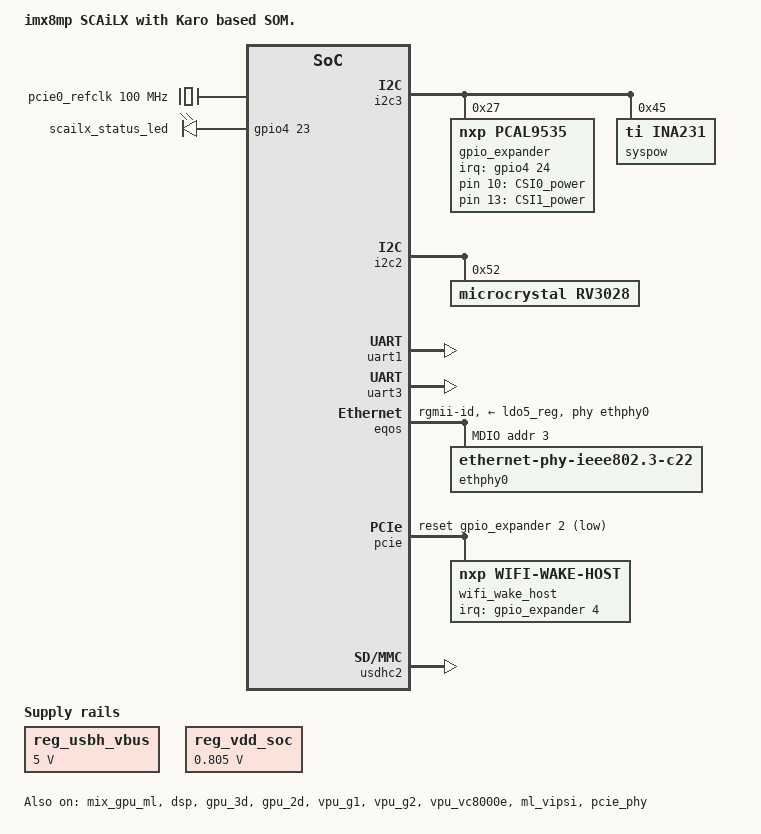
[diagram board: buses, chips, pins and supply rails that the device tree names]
// SPDX-License-Identifier: (GPL-2.0 OR MIT)
/*
 * Copyright (C) 2023 VideologyInc
 *
 */

#include "imx8mp-qsxp-ml81.dts"
#include <dt-bindings/phy/phy-imx8-pcie.h>

/ {
	model = "imx8mp SCAiLX with Karo based SOM.";

	aliases {
		pcie = &pcie;
		pcie_phy = &pcie_phy;
		serial3 = &uart3;

		csi0_i2c = &i2c3;
		csi1_i2c = &i2c2;
		dsi0_i2c = &i2c2;

		gpio-a-i2c = &i2c3;
		gpio-a-uart = &uart1;
		gpio-a-debug = &uart4;
		gpio-a-can = &flexcan2;
		gpio-a-spi = &ecspi2;
		gpio-a-usb = &usb3_1;
		gpio-a-usb_dwc = &usb_dwc3_1;
		gpio-a-usb_phy = &usb3_phy1;

		gpio-b-i2c = &i2c2;
		gpio-b-uart = &uart3;
		gpio-b-debug = &uart2;
		gpio-b-can = &flexcan1;
		gpio-b-spi = &ecspi1;
		gpio-b-usb = &usb3_0;
		gpio-b-usb_dwc = &usb_dwc3_0;
		gpio-b-usb_phy = &usb3_phy0;
	};

	reg_usbh_vbus: regulator-usbh-vbus {
		compatible = "regulator-fixed";
		regulator-name = "USBH-VBUS";
		regulator-min-microvolt = <5000000>;
		regulator-max-microvolt = <5000000>;
		regulator-always-on;
	};

	pcie0_refclk: pcie0-refclk {
		compatible = "fixed-clock";
		#clock-cells = <0>;
		clock-frequency = <100000000>;
	};

	scailx_leds {
		compatible = "gpio-leds";
		pinctrl-names = "default";
		pinctrl-0 = <&pinctrl_status_led>;
		scailx_status_led {
			gpios = <&gpio4 23 GPIO_ACTIVE_HIGH>;
			default-state = "on";
		};
		CSI0_power {
			gpios = <&gpio_expander 10 GPIO_ACTIVE_HIGH>;
			default-state = "off";
		};
		CSI1_power {
			gpios = <&gpio_expander 13 GPIO_ACTIVE_HIGH>;
			default-state = "off";
		};
	};
};

// create second label for devices to group them to the ascociated port on the SCAILX device.
csi0_i2c: &i2c3{};
csi1_i2c: &i2c2{};
dsi0_i2c: &i2c2{};

gpio_a_i2c: &i2c3 {};
gpio_a_uart: &uart1 {};
gpio_a_debug: &uart4{};
gpio_a_can: &flexcan2{};
gpio_a_spi: &ecspi2{};
gpio_a_usb: &usb3_1{};
gpio_a_usb_dwc: &usb_dwc3_1{};
gpio_a_usb_phy: &usb3_phy1{};

gpio_b_i2c: &i2c2{};
gpio_b_uart: &uart3{};
gpio_b_debug: &uart2{};
gpio_b_can: &flexcan1{};
gpio_b_spi: &ecspi1{};
gpio_b_usb: &usb3_0{};
gpio_b_usb_dwc: &usb_dwc3_0{};
gpio_b_usb_phy: &usb3_phy0{};

&mix_gpu_ml {
	/delete-property/ memory-region;
 };

/delete-node/ &gpu_reserved;

/* reconfigure UARTS */
&uart1 {
	/* remove RTS-CTS */
	pinctrl-names = "default";
	pinctrl-0 = <&pinctrl_uart1>;
	/delete-property/ uart-has-rtscts;
	status = "okay";
};
&uart3{
	pinctrl-names = "default";
	pinctrl-0 = <&pinctrl_uart3>;
	status = "okay";
};

&dsp {
	status = "okay";
};

&eqos {
	pinctrl-names = "default", "sleep";
	pinctrl-0 = <&pinctrl_eqos>;
	pinctrl-1 = <&pinctrl_eqos_sleep>;
	phy-mode = "rgmii-id";
	phy-handle = <&ethphy0>;
	phy-supply = <&ldo5_reg>;
	status = "okay";

	mdio {
		compatible = "snps,dwmac-mdio";
		pinctrl-names = "default";
		pinctrl-0 = <&pinctrl_etnphy_rst_b>;
		reset-gpios = <&gpio4 22 GPIO_ACTIVE_LOW>;
		reset-delay-us = <10000>;
		reset-post-delay-us = <60000>;
		#address-cells = <1>;
		#size-cells = <0>;

		ethphy0: ethernet-phy@3 {
			compatible = "ethernet-phy-ieee802.3-c22";
			reg = <3>;
			eee-broken-1000t;
			realtek,clkout-disable;
			micrel,force-master;
			rxd0-skew-ps = <(420 + 99)>;
			rxd1-skew-ps = <(420 + 119)>;
			rxd2-skew-ps = <(420 + 111)>;
			rxd3-skew-ps = <(420 + 129)>;
			txd0-skew-ps = <(420 + 204)>;
			txd1-skew-ps = <(420 + 178)>;
			txd2-skew-ps = <(420 + 192)>;
			txd3-skew-ps = <(420 + 151)>;
			rxdv-skew-ps = <(420 + 129)>;
			txen-skew-ps = <(420 + 150)>;
			rxc-skew-ps = <(900 + 139)>;
			txc-skew-ps = <(900 + 150)>;
		};
	};
};

&gpu_3d {
	status = "okay";
};

&gpu_2d {
	status = "okay";
};

&vpu_g1 {
	status = "okay";
};

&vpu_g2 {
	status = "okay";
};

&vpu_vc8000e {
	status = "okay";
};

// &vpu_v4l2 {
// 	status = "okay";
// };

&ml_vipsi {
	status = "okay";
};

&mix_gpu_ml {
	status = "okay";
};

&i2c2 {
	/* RTC */
	rv3028: rtc@52 	{
		compatible = "microcrystal,rv3028";
		reg = <0x52>;
		trickle-resistor-ohms = <5000>;
	};
};

&i2c3 {
	gpio_expander: gpio@27 {
		compatible = "nxp,pcal9535";
		reg = <0x27>;
		#gpio-cells = <2>;
		gpio-controller;

		pinctrl-names = "default";
		pinctrl-0 = <&pinctrl_expander_int>;
		interrupt-parent = <&gpio4>;
		interrupts = <24 IRQ_TYPE_EDGE_FALLING>;
		interrupt-controller;
		#interrupt-cells = <2>;

		gpio-line-names =
			"PWR-EN_GPIOA",
			"RST_CAM-B",
			"PCIe_PERST",
			"GPIOA-GP3",
			"PCIe_WAKE",
			"DISP-EN_DSI",
			"GPIOB-GP2",
			"PWR-EN_GPIOB",
			"ALERT_CAM-A",
			"RST_CAM-A",
			"PWR-EN_CAM-A",
			"Reserved_CAM-B",
			"ALERT_CAM-B",
			"PWR-EN_CAM-B",
			"Reserved_CAM-A",
			"";
	};

	/* System power sensor */
	syspow: ina231@45 {
		compatible = "ti,ina231";
		reg = <0x45>;
		shunt-resistor = <10000>;
	};
};

&i2c4 {
	status = "disabled";
};

&pcie {
	pinctrl-names = "default";
	pinctrl-0 = <&pinctrl_pcie>;
	reset-gpio = <&gpio_expander 2 GPIO_ACTIVE_LOW>;
	ext_osc = <1>;
	clocks = <&clk IMX8MP_CLK_HSIO_ROOT>,
		<&clk IMX8MP_CLK_PCIE_ROOT>,
		<&clk IMX8MP_CLK_HSIO_AXI>;
	clock-names = "pcie", "pcie_aux", "pcie_bus";
	assigned-clocks = <&clk IMX8MP_CLK_PCIE_AUX>;
	assigned-clock-rates = <10000000>;
	assigned-clock-parents = <&clk IMX8MP_SYS_PLL2_50M>;
	status = "okay";

	wifi_wake_host {
		compatible = "nxp,wifi-wake-host";
		interrupt-parent = <&gpio_expander>;
		interrupts = <4 IRQ_TYPE_LEVEL_LOW>;
		interrupt-names = "host-wake";
	};
};

&pcie_phy {
	fsl,refclk-pad-mode = <IMX8_PCIE_REFCLK_PAD_INPUT>;
	fsl,clkreq-unsupported;
	clocks = <&pcie0_refclk>;
	clock-names = "ref";
	status = "okay";
};

&reg_vdd_soc {
	/* PCIe requires a minimum vdd soc voltage of 0.805V */
	regulator-min-microvolt = <805000>;
};

&usdhc2 {
	status = "okay";
};

&ecspi1 {
	pinctrl-names = "default";
	pinctrl-0 = <&pinctrl_ecspi1>;
	spi-max-frequency = <20000000>;
	cs-gpios = <&gpio5 9 GPIO_ACTIVE_LOW>;
	status = "disabled";
};

&ecspi2 {
	pinctrl-names = "default";
	pinctrl-0 = <&pinctrl_ecspi2>;
	spi-max-frequency = <20000000>;
	cs-gpios = <&gpio5 13 GPIO_ACTIVE_LOW>;
	status = "disabled";
};


// imx8m PIN MUX REGISTERS:
//   |---|---|---|---| # |---|---|---|---| # |---|---|---|SION| # |---|MUX|MUX|MUX|
//     IOMUXC_MUX_SION_ENABLED     0x40000000  // enable software read of pin state irrespective of mux function.

// imx8m PIN PAD CTRL REGISTERS:
//   |---|---|---|---| # |---|---|---|PE | # |HYS|PUE|ODE|SLR| # |slr?|DSE|DSE|dse?|
// hysteresis - Schmitt-trigger enable or regular CMOS
//     IOMUXC_PAD_HYS_ENABLED      0x00000080
// Pull-up/down     (when enabled, approx 27k PU, or 100k PD)
//     IOMUXC_PAD_PULL_ENABLED     0x00000100
//     IOMUXC_PAD_PULL_PUE         0x00000040  // 0x40 -s PU, 0 is PD if PE is on
//     IOMUXC_PAD_ODE_ENABLED      0x00000020
// Slew-rate control
//     IOMUXC_PAD_SRE_FAST         0x00000010
// Drive Strength
//     IOMUXC_PAD_DSE_X1           0x00000000  (Weakest)
//     IOMUXC_PAD_DSE_X2           0x00000002
//     IOMUXC_PAD_DSE_X4           0x00000004
//     IOMUXC_PAD_DSE_X6           0x00000006  (Strongest)

&iomuxc {
	pinctrl_etnphy_int_b: etnphy-int-bgrp {
		fsl,pins = <
			    MX8MP_IOMUXC_SAI2_RXFS__GPIO4_IO21		0x90
		>;
	};

	pinctrl_etnphy_rst_b: etnphy-rst-bgrp {
		fsl,pins = <
			    MX8MP_IOMUXC_SAI2_RXC__GPIO4_IO22		0x140
		>;
	};

	pinctrl_eqos: eqosgrp {
		fsl,pins = <
			    MX8MP_IOMUXC_GPIO1_IO00__CCM_ENET_PHY_REF_CLK_ROOT 0x150
			    MX8MP_IOMUXC_ENET_MDC__ENET_QOS_MDC		0x142
			    MX8MP_IOMUXC_ENET_MDIO__ENET_QOS_MDIO	0x142
			    MX8MP_IOMUXC_ENET_TXC__CCM_ENET_QOS_CLOCK_GENERATE_TX_CLK 0x000
			    MX8MP_IOMUXC_ENET_TD0__ENET_QOS_RGMII_TD0	0x016
			    MX8MP_IOMUXC_ENET_TD1__ENET_QOS_RGMII_TD1	0x016
			    MX8MP_IOMUXC_ENET_TD2__ENET_QOS_RGMII_TD2	0x016
			    MX8MP_IOMUXC_ENET_TD3__ENET_QOS_RGMII_TD3	0x016
			    MX8MP_IOMUXC_ENET_RD0__ENET_QOS_RGMII_RD0	0x150
			    MX8MP_IOMUXC_ENET_RD1__ENET_QOS_RGMII_RD1	0x150
			    MX8MP_IOMUXC_ENET_RD2__ENET_QOS_RGMII_RD2	0x150
			    MX8MP_IOMUXC_ENET_RD3__ENET_QOS_RGMII_RD3	0x150
			    MX8MP_IOMUXC_ENET_RXC__CCM_ENET_QOS_CLOCK_GENERATE_RX_CLK 0x116
			    MX8MP_IOMUXC_ENET_RX_CTL__ENET_QOS_RGMII_RX_CTL 0x156
			    MX8MP_IOMUXC_ENET_TX_CTL__ENET_QOS_RGMII_TX_CTL 0x016
		>;
	};

	pinctrl_eqos_sleep: eqos-sleep-grp {
		fsl,pins = <
			    MX8MP_IOMUXC_GPIO1_IO00__GPIO1_IO00		0x120
			    MX8MP_IOMUXC_ENET_MDC__GPIO1_IO16		0x120
			    MX8MP_IOMUXC_ENET_MDIO__GPIO1_IO17		0x120
			    MX8MP_IOMUXC_ENET_TXC__GPIO1_IO23		0x120
			    MX8MP_IOMUXC_ENET_TD0__GPIO1_IO21		0x120
			    MX8MP_IOMUXC_ENET_TD1__GPIO1_IO20		0x120
			    MX8MP_IOMUXC_ENET_TD2__GPIO1_IO19		0x120
			    MX8MP_IOMUXC_ENET_TD3__GPIO1_IO18		0x120
			    MX8MP_IOMUXC_ENET_RD0__GPIO1_IO26		0x120
			    MX8MP_IOMUXC_ENET_RD1__GPIO1_IO27		0x120
			    MX8MP_IOMUXC_ENET_RD2__GPIO1_IO28		0x120
			    MX8MP_IOMUXC_ENET_RD3__GPIO1_IO29		0x120
			    MX8MP_IOMUXC_ENET_RXC__GPIO1_IO25		0x120
			    MX8MP_IOMUXC_ENET_RX_CTL__GPIO1_IO24	0x120
			    MX8MP_IOMUXC_ENET_TX_CTL__GPIO1_IO22	0x120
		>;
	};

	pinctrl_expander_int: expander_int_gpiogrp {
		fsl,pins = <
			MX8MP_IOMUXC_SAI2_TXFS__GPIO4_IO24		0x150 /* pull up, fast-slew */
		>;
	};

	pinctrl_status_led: status_ledgrp {
		fsl,pins = <
			MX8MP_IOMUXC_SAI2_RXD0__GPIO4_IO23		0x80
		>;
	};

	pinctrl_pcie: pciegrp {
		fsl,pins = <
			MX8MP_IOMUXC_I2C4_SCL__PCIE_CLKREQ_B	0x61 /* open drain, external pull up */
		>;
	};

	pinctrl_uart3: uart3grp {
		fsl,pins = <
			MX8MP_IOMUXC_UART3_TXD__UART3_DCE_TX		0x140
			MX8MP_IOMUXC_UART3_RXD__UART3_DCE_RX		0x140
		>;
	};

    pinctrl_ecspi2: ecspi2grp {
		fsl,pins = <
			MX8MP_IOMUXC_ECSPI2_SS0__GPIO5_IO13			0x40156
			/* MX8MP_IOMUXC_ECSPI2_SS0__ECSPI2_SS0			0x82*/
			MX8MP_IOMUXC_ECSPI2_SCLK__ECSPI2_SCLK		0x82
			MX8MP_IOMUXC_ECSPI2_MOSI__ECSPI2_MOSI		0x82
			MX8MP_IOMUXC_ECSPI2_MISO__ECSPI2_MISO		0x82
		>;
	};

	pinctrl_ecspi1: ecspi1grp {
		fsl,pins = <
			MX8MP_IOMUXC_ECSPI1_SS0__GPIO5_IO09			0x156
			/* MX8MP_IOMUXC_ECSPI1_SS0__ECSPI1_SS0			0x82*/
			MX8MP_IOMUXC_ECSPI1_SCLK__ECSPI1_SCLK		0x82
			MX8MP_IOMUXC_ECSPI1_MOSI__ECSPI1_MOSI		0x82
			MX8MP_IOMUXC_ECSPI1_MISO__ECSPI1_MISO		0x82
		>;
	};
};
